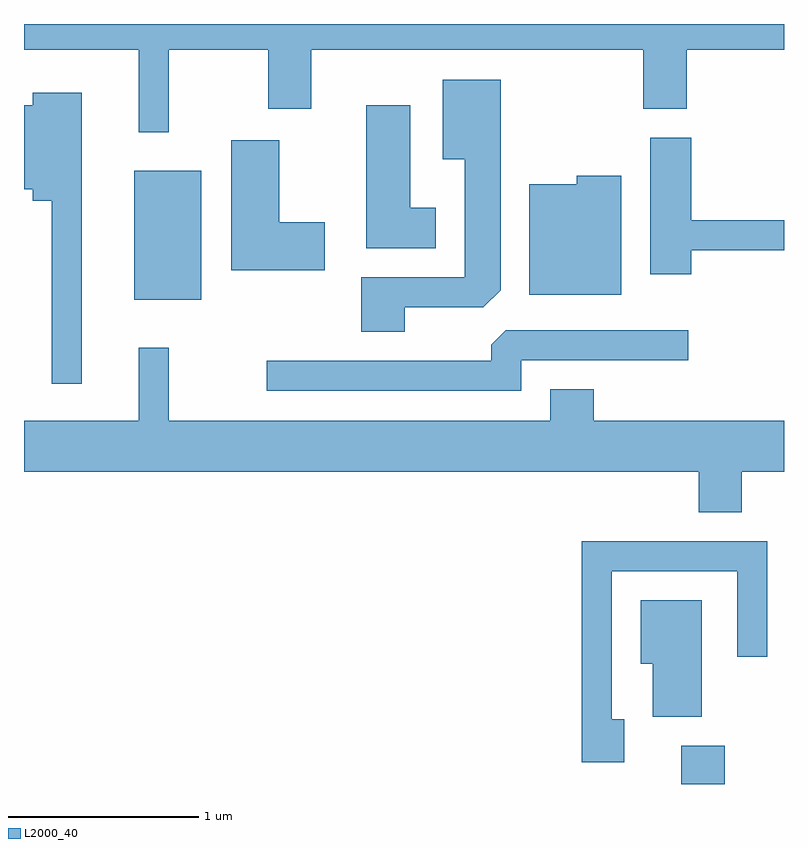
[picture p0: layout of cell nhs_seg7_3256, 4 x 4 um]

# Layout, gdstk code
import gdstk
lib = gdstk.Library(unit=1e-6, precision=1e-09)
def R(c, l, rs):  # rectangles x0, y0, x1, y1
    for r in rs: c.add(gdstk.rectangle(r[:2], r[2:], *l))
def P(c, l, *ps):  # polygons
    for p in ps: c.add(gdstk.Polygon(p, *l))
L2000_40 = (2000, 40)

nhs_seg7_3256 = lib.new_cell('nhs_seg7_3256')
R(nhs_seg7_3256, L2000_40, [(289.071,1688.252,289.299,1688.454), (286.191,1690.801,286.544,1691.479)])
P(nhs_seg7_3256, L2000_40, [(286.374,1692.116),(286.896,1692.116),(286.896,1691.806),(287.124,1691.806),(287.124,1692.116),(288.871,1692.116),(288.871,1691.806),(289.099,1691.806),(289.099,1692.116),(289.611,1692.116),(289.611,1692.252),(285.611,1692.252),(285.611,1692.116),(286.216,1692.116),(286.216,1691.683),(286.374,1691.683)],
  [(287.614,1690.761),(288.029,1690.761),(288.119,1690.852),(288.119,1691.959),(287.816,1691.959),(287.816,1691.541),(287.931,1691.541),(287.931,1690.919),(287.386,1690.919),(287.386,1690.631),(287.614,1690.631)],
  [(285.914,1691.889),(285.656,1691.889),(285.656,1691.824),(285.611,1691.824),(285.611,1691.381),(285.656,1691.381),(285.656,1691.321),(285.756,1691.321),(285.756,1690.358),(285.914,1690.358)],
  [(287.779,1691.284),(287.644,1691.284),(287.644,1691.824),(287.411,1691.824),(287.411,1691.071),(287.779,1691.071)],
  [(289.124,1691.061),(289.611,1691.061),(289.611,1691.219),(289.124,1691.219),(289.124,1691.654),(288.906,1691.654),(288.906,1690.936),(289.124,1690.936)],
  [(287.194,1691.209),(286.954,1691.209),(286.954,1691.639),(286.701,1691.639),(286.701,1690.956),(287.194,1690.956)],
  [(288.754,1691.454),(288.521,1691.454),(288.521,1691.409),(288.271,1691.409),(288.271,1690.826),(288.754,1690.826)],
  [(288.229,1690.481),(289.108,1690.481),(289.108,1690.639),(288.147,1690.639),(288.071,1690.564),(288.071,1690.479),(286.888,1690.479),(286.888,1690.321),(288.229,1690.321)],
  [(289.389,1689.896),(289.611,1689.896),(289.611,1690.164),(288.609,1690.164),(288.609,1690.329),(288.381,1690.329),(288.381,1690.164),(286.374,1690.164),(286.374,1690.548),(286.216,1690.548),(286.216,1690.164),(285.611,1690.164),(285.611,1689.896),(289.161,1689.896),(289.161,1689.681),(289.389,1689.681)],
  [(288.769,1688.594),(288.704,1688.594),(288.704,1689.371),(289.366,1689.371),(289.366,1688.923),(289.524,1688.923),(289.524,1689.529),(288.546,1689.529),(288.546,1688.366),(288.769,1688.366)],
  [(289.179,1689.219),(288.856,1689.219),(288.856,1688.886),(288.921,1688.886),(288.921,1688.606),(289.179,1688.606)])

lib.write_gds('nhs_seg7_3256.gds')
